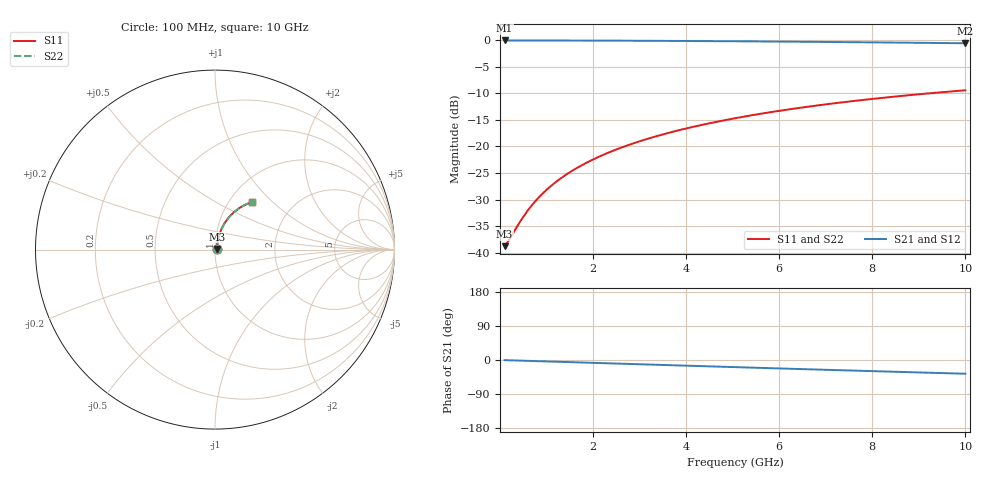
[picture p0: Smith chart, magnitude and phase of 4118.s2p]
# Hz S RI R 50.00
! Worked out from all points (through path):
!   100 points, 100 MHz to 10 GHz, reference 50 ohm
!   highest |S21| = -0.10 dB at 100 MHz (marker M1); lowest = -0.6 dB at 10 GHz (marker M2)
!   group delay of S21, straight-line fit = 10.1 ps
!   lowest |S11| = -38.8 dB at 100 MHz (marker M3), VSWR 1.02, Z = 51.1 + j0.375 ohm
!   |S11| at or under -10 dB: start of sweep to 9.271 GHz
!   |S22| runs from -38.8 to -9.5 dB; largest |S21 - S12| = 0
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1e8  0.0109 0.00367  0.9891 -0.00649  0.9891 -0.00649  0.0109 0.00367
2e8  0.0111 0.00733  0.9889 -0.013  0.9889 -0.013  0.0111 0.00733
4e8  0.0115 0.0147  0.9885 -0.026  0.9885 -0.026  0.0115 0.0147
5e8  0.0117 0.0183  0.9882 -0.0324  0.9882 -0.0324  0.0117 0.0183
6e8  0.012 0.022  0.9878 -0.0389  0.9878 -0.0389  0.012 0.022
7e8  0.0123 0.0256  0.9874 -0.0454  0.9874 -0.0454  0.0123 0.0256
9e8  0.0132 0.0329  0.9865 -0.0583  0.9865 -0.0583  0.0132 0.0329
1.1e9  0.0142 0.0401  0.9853 -0.0712  0.9853 -0.0712  0.0142 0.0401
1.3e9  0.0153 0.0473  0.9839 -0.0841  0.9839 -0.0841  0.0153 0.0473
1.5e9  0.0167 0.0545  0.9823 -0.0969  0.9823 -0.0969  0.0167 0.0545
1.8e9  0.0191 0.0652  0.9795 -0.1161  0.9795 -0.1161  0.0191 0.0652
2.1e9  0.0219 0.0758  0.9762 -0.1352  0.9762 -0.1352  0.0219 0.0758
2.5e9  0.0263 0.0896  0.9711 -0.1604  0.9711 -0.1604  0.0263 0.0896
2.9e9  0.0314 0.1032  0.9651 -0.1853  0.9651 -0.1853  0.0314 0.1032
3.4e9  0.0387 0.1198  0.9565 -0.216  0.9565 -0.216  0.0387 0.1198
4.2e9  0.0525 0.145  0.9403 -0.264  0.9403 -0.264  0.0525 0.145
5.1e9  0.0708 0.1713  0.9185 -0.3159  0.9185 -0.3159  0.0708 0.1713
5.9e9  0.0894 0.1926  0.8962 -0.36  0.8962 -0.36  0.0894 0.1926
6.7e9  0.1098 0.2117  0.8716 -0.402  0.8716 -0.402  0.1098 0.2117
7.5e9  0.1318 0.2284  0.8449 -0.4416  0.8449 -0.4416  0.1318 0.2284
8.4e9  0.158 0.2444  0.8127 -0.4834  0.8127 -0.4834  0.158 0.2444
1e10  0.2072 0.265  0.7508 -0.5502  0.7508 -0.5502  0.2072 0.265
